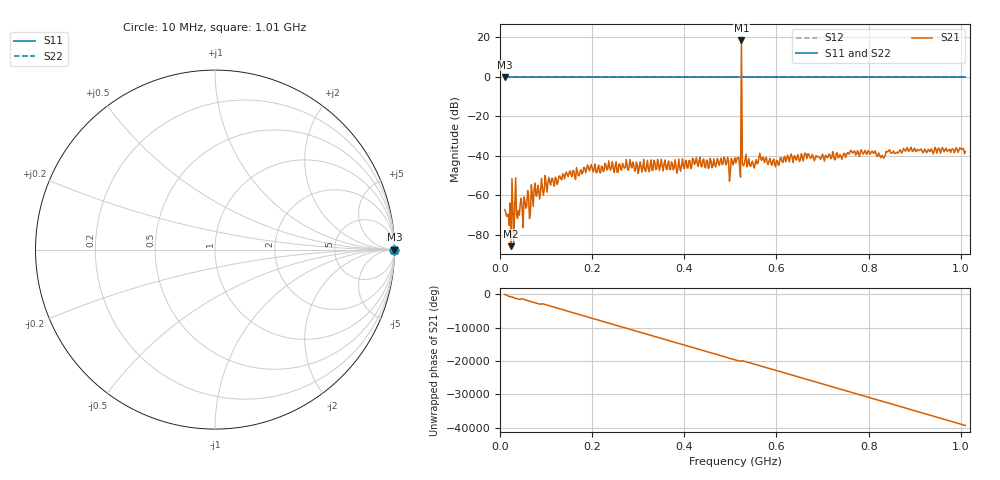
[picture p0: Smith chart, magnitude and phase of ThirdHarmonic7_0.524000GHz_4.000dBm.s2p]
! 8/17/2025 3:28:59 PM
! C:\ANRITSUVNA\TEMP\TEMP.S2P
! CHANNEL.1
! TR.MEASUREMENT
! RAW.DATA
! RF.CORRECTION.OFF
! AVERAGING.OFF
! IF.BANDWIDTH: 5KHZ
! SWEEPTYPE:  FREQ.SWEEP(Linear)
! Reference Plane Port Info
! PORT:  PORT1  PORT2
! DISTANCE:  0  m  0  m
! TIME:  0  s  0  s
! PHASE.OFFSET:  0  deg.  0  deg.
! LOSS:  0  dB  0  dB
! REF.LOSS:  0  dB  0  dB
! REF.FREQ:  0  Hz  0  Hz
! Power Info
! POWER:  -20  dBm  -20  dBm
! EFF.POWER:  -20  dBm  -20  dBm
! SOURCE.ATTEN:  0  dB  0  dB
! TEST.ATTEN:  0  dB  0  dB
# GHZ S RI R 50.0
! FREQ.GHZ  S11RE  S11IM  S21RE  S21IM  S12RE  S12IM  S22RE  S22IM
!; PortSelection: Port_12
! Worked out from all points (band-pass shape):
!   501 points, 10 MHz to 1.01 GHz, reference 50 ohm
!   highest |S21| = 18.47 dB at 524 MHz (marker M1); lowest = -85.9 dB at 24 MHz (marker M2)
!   |S21| within 3 dB of the highest: 523.9135 MHz to 524.0965 MHz (183 kHz wide, 0.0349 % of centre)
!   lowest |S11| = 0.0 dB at 10 MHz (marker M3)
!   |S11| at or under -10 dB: nowhere
!   |S22| runs from 0.0 to 0.0 dB; largest |S21 - S12| = 9.4
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0.01  1 0  0.000284 -0.000318  1 0  1 0
0.02  1 0  1.77e-05 0.000171  1 0  1 0
0.024  1 0  2.42e-05 -4.44e-05  1 0  1 0
0.028  1 0  -0.000278 -0.000266  1 0  1 0
0.03  1 0  2.87e-05 5.42e-05  1 0  1 0
0.04  1 0  0.000406 2.13e-05  1 0  1 0
0.056  1 0  -9.29e-05 0.000454  1 0  1 0
0.068  1 0  0.00165 -0.000766  1 0  1 0
0.072  1 0  -0.000406 0.000316  1 0  1 0
0.102  1 0  0.000919 0.000744  1 0  1 0
0.178  1 0  -0.00326 -0.00114  1 0  1 0
0.344  1 0  0.00562 -0.00262  1 0  1 0
0.502  1 0  -0.00734 0.00446  1 0  1 0
0.51  1 0  -0.00878 0.000462  1 0  1 0
0.518  1 0  -0.00805 -0.00411  1 0  1 0
0.52  1 0  -0.00346 0.00409  1 0  1 0
0.524  1 0  -8.096 -2.187  1 0  1 0
0.528  1 0  -0.00539 0.00133  1 0  1 0
0.53  1 0  -0.00159 0.00581  1 0  1 0
0.678  1 0  0.002 -0.0106  1 0  1 0
0.844  1 0  -0.00219 0.0136  1 0  1 0
1.01  1 0  -0.00189 -0.0124  1 0  1 0
